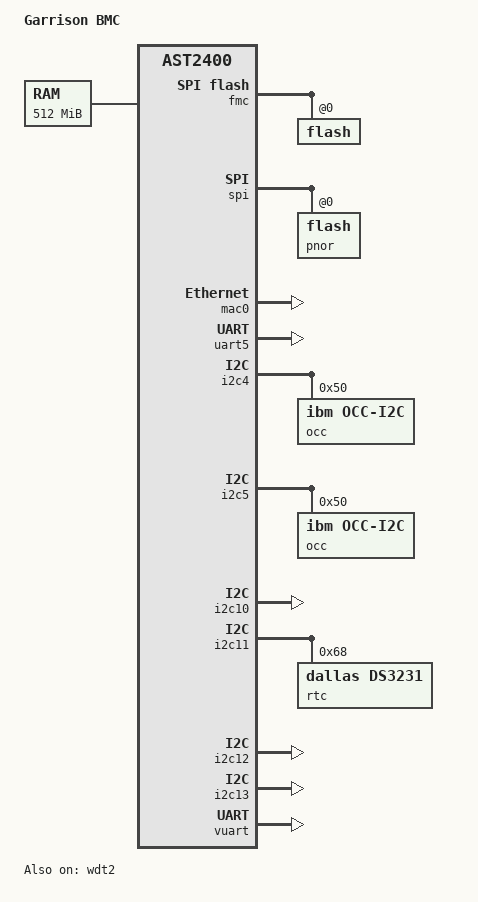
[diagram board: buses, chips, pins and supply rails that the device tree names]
/dts-v1/;

#include "aspeed-g4.dtsi"
#include <dt-bindings/gpio/gpio.h>

/ {
	model = "Garrison BMC";
	compatible = "ibm,garrison-bmc", "aspeed,ast2400";

	aliases {
		serial4 = &uart5;
	};

	chosen {
		stdout-path = &uart5;
		bootargs = "console=ttyS4,115200 earlyprintk";
	};

	memory {
		reg = <0x40000000 0x20000000>;
	};

	reserved-memory {
		#address-cells = <1>;
		#size-cells = <1>;
		ranges;

		vga_memory: framebuffer@5f000000 {
			no-map;
			reg = <0x5f000000 0x01000000>; /* 16MB */
		};
	};
};

&fmc {
	status = "okay";

	flash@0 {
		status = "okay";
		m25p,fast-read;
#include "aspeed-bmc-opp-flash-layout.dtsi"
	};
};

&spi {
	status = "okay";
	pinctrl-names = "default";
	pinctrl-0 = <&pinctrl_spi1_default>;

	flash@0 {
		status = "okay";
		m25p,fast-read;
		label = "pnor";
	};
};

&mac0 {
	status = "okay";

	use-ncsi;

	pinctrl-names = "default";
	pinctrl-0 = <&pinctrl_rmii1_default>;
};

&uart5 {
	status = "okay";
};


&i2c4 {
	status = "okay";

	occ@50 {
		compatible = "ibm,occ-i2c";
		reg = <0x50>;
	};
};

&i2c5 {
	status = "okay";

	occ@50 {
		compatible = "ibm,occ-i2c";
		reg = <0x50>;
	};
};

&i2c10 {
	status = "okay";
};

&i2c11 {
	status = "okay";

	rtc@68 {
		compatible = "dallas,ds3231";
		       reg = <0x68>;
	};
};

&i2c12 {
	status = "okay";
};

&i2c13 {
	status = "okay";
};

&vuart {
	status = "okay";
};

&wdt2 {
	status = "okay";
};
